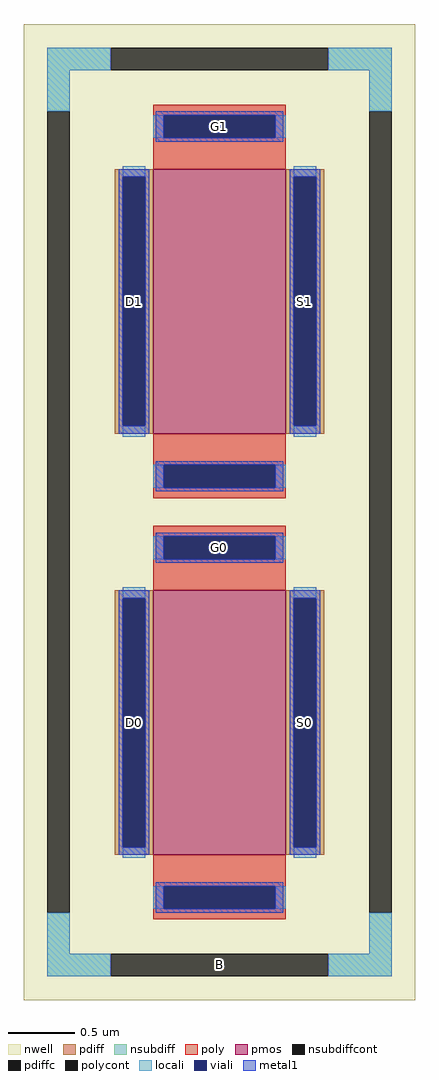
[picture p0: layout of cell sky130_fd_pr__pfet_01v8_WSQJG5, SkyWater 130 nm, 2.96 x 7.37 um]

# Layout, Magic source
magic
tech sky130A
magscale 1 2
<< nwell >>
rect -296 -737 296 737
<< pmos >>
rect -100 118 100 518
rect -100 -518 100 -118
<< pdiff >>
rect -158 506 -100 518
rect -158 130 -146 506
rect -112 130 -100 506
rect -158 118 -100 130
rect 100 506 158 518
rect 100 130 112 506
rect 146 130 158 506
rect 100 118 158 130
rect -158 -130 -100 -118
rect -158 -506 -146 -130
rect -112 -506 -100 -130
rect -158 -518 -100 -506
rect 100 -130 158 -118
rect 100 -506 112 -130
rect 146 -506 158 -130
rect 100 -518 158 -506
<< pdiffc >>
rect -146 130 -112 506
rect 112 130 146 506
rect -146 -506 -112 -130
rect 112 -506 146 -130
<< nsubdiff >>
rect -260 667 -164 701
rect 164 667 260 701
rect -260 605 -226 667
rect 226 605 260 667
rect -260 -667 -226 -605
rect 226 -667 260 -605
rect -260 -701 -164 -667
rect 164 -701 260 -667
<< nsubdiffcont >>
rect -164 667 164 701
rect -260 -605 -226 605
rect 226 -605 260 605
rect -164 -701 164 -667
<< poly >>
rect -100 599 100 615
rect -100 565 -84 599
rect 84 565 100 599
rect -100 518 100 565
rect -100 71 100 118
rect -100 37 -84 71
rect 84 37 100 71
rect -100 21 100 37
rect -100 -37 100 -21
rect -100 -71 -84 -37
rect 84 -71 100 -37
rect -100 -118 100 -71
rect -100 -565 100 -518
rect -100 -599 -84 -565
rect 84 -599 100 -565
rect -100 -615 100 -599
<< polycont >>
rect -84 565 84 599
rect -84 37 84 71
rect -84 -71 84 -37
rect -84 -599 84 -565
<< locali >>
rect -260 667 -164 701
rect 164 667 260 701
rect -260 605 -226 667
rect 226 605 260 667
rect -100 565 -84 599
rect 84 565 100 599
rect -146 506 -112 522
rect -146 114 -112 130
rect 112 506 146 522
rect 112 114 146 130
rect -100 37 -84 71
rect 84 37 100 71
rect -100 -71 -84 -37
rect 84 -71 100 -37
rect -146 -130 -112 -114
rect -146 -522 -112 -506
rect 112 -130 146 -114
rect 112 -522 146 -506
rect -100 -599 -84 -565
rect 84 -599 100 -565
rect -260 -667 -226 -605
rect 226 -667 260 -605
rect -260 -701 -164 -667
rect 164 -701 260 -667
<< viali >>
rect -84 565 84 599
rect -146 130 -112 506
rect 112 130 146 506
rect -84 37 84 71
rect -84 -71 84 -37
rect -146 -506 -112 -130
rect 112 -506 146 -130
rect -84 -599 84 -565
<< metal1 >>
rect -96 599 96 605
rect -96 565 -84 599
rect 84 565 96 599
rect -96 559 96 565
rect -152 506 -106 518
rect -152 130 -146 506
rect -112 130 -106 506
rect -152 118 -106 130
rect 106 506 152 518
rect 106 130 112 506
rect 146 130 152 506
rect 106 118 152 130
rect -96 71 96 77
rect -96 37 -84 71
rect 84 37 96 71
rect -96 31 96 37
rect -96 -37 96 -31
rect -96 -71 -84 -37
rect 84 -71 96 -37
rect -96 -77 96 -71
rect -152 -130 -106 -118
rect -152 -506 -146 -130
rect -112 -506 -106 -130
rect -152 -518 -106 -506
rect 106 -130 152 -118
rect 106 -506 112 -130
rect 146 -506 152 -130
rect 106 -518 152 -506
rect -96 -565 96 -559
rect -96 -599 -84 -565
rect 84 -599 96 -565
rect -96 -605 96 -599
<< labels >>
rlabel nsubdiffcont 0 -684 0 -684 0 B
port 15 nsew
rlabel pdiffc -129 -318 -129 -318 0 D0
port 16 nsew
rlabel pdiffc 129 -318 129 -318 0 S0
port 17 nsew
rlabel polycont 0 -54 0 -54 0 G0
port 18 nsew
rlabel pdiffc -129 318 -129 318 0 D1
port 19 nsew
rlabel pdiffc 129 318 129 318 0 S1
port 20 nsew
rlabel polycont 0 582 0 582 0 G1
port 21 nsew
<< properties >>
string FIXED_BBOX -243 -684 243 684
string gencell sky130_fd_pr__pfet_01v8
string library sky130
string parameters w 2.0 l 1.0 m 2 nf 1 diffcov 100 polycov 100 guard 1 glc 1 grc 1 gtc 1 gbc 1 tbcov 100 rlcov 100 topc 1 botc 1 poverlap 0 doverlap 1 lmin 0.15 wmin 0.42 class mosfet compatible {sky130_fd_pr__pfet_01v8  sky130_fd_pr__pfet_01v8_lvt sky130_fd_pr__pfet_01v8_hvt  sky130_fd_pr__pfet_g5v0d10v5} full_metal 1 conn_gates 0 viasrc 100 viadrn 100 viagate 100 viagb 0 viagr 0 viagl 0 viagt 0 doports 1 ad {int((nf+1)/2) * W/nf * 0.29} as {int((nf+2)/2) * W/nf * 0.29} pd {2*int((nf+1)/2) * (W/nf + 0.29)} ps {2*int((nf+2)/2) * (W/nf + 0.29)} nrd {0.29 / W} nrs {0.29 / W} sa 0 sb 0 sd 0 mult 2
<< end >>
